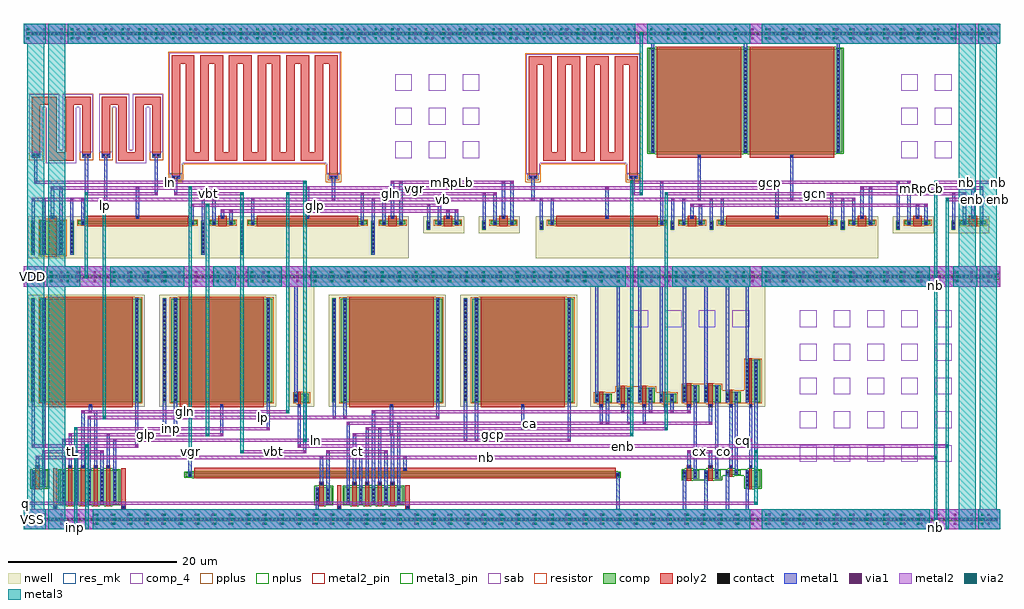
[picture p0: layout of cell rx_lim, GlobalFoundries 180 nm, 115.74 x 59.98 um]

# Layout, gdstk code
import gdstk
lib = gdstk.Library(unit=1e-6, precision=1e-09)
def R(c, l, rs):  # rectangles x0, y0, x1, y1
    for r in rs: c.add(gdstk.rectangle(r[:2], r[2:], *l))
def A(c, l, x, y, w, h, nx, ny, dx, dy):  # array of equal rectangles
    R(c, l, [(x+i*dx, y+j*dy, x+i*dx+w, y+j*dy+h) for i in range(nx) for j in range(ny)])
nwell = (21, 0)
comp = (22, 0)
comp_4 = (22, 4)
poly2 = (30, 0)
pplus = (31, 0)
nplus = (32, 0)
contact = (33, 0)
metal1 = (34, 0)
via1 = (35, 0)
metal2 = (36, 0)
metal2_pin = (36, 10)
via2 = (38, 0)
metal3 = (42, 0)
metal3_pin = (42, 10)
sab = (49, 0)
resistor = (62, 0)
res_mk = (110, 5)

rx_lim = lib.new_cell('rx_lim')
R(rx_lim, nwell, [(0.45,12.165,14.33,25.43), (16.03,12.165,29.91,25.43), (31.46,12.165,34.39,26.88), (36.14,12.165,50.02,25.43), (51.72,12.165,65.6,25.43), (67.15,12.165,87.91,26.88), (0.15,26.88,115.59,28.28), (0.45,29.73,45.65,34.71), (60.71,29.73,101.33,34.71), (47.35,32.73,52.23,34.71), (53.93,32.73,58.81,34.71), (103.03,32.73,107.91,34.71), (109.61,32.73,114.49,34.71)])
A(rx_lim, comp, 96.9, 33.18, 0.38, 1, 3, 1, 6.58, 0)
A(rx_lim, comp, 42.2, 33.76, 3, 0.42, 3, 1, 6.58, 0)
A(rx_lim, comp, 97.88, 33.76, 3, 0.42, 3, 1, 6.58, 0)
R(rx_lim, comp, [(0.3,-1.39,115.44,-1.01), (4.25,0.6,11.25,4.6), (34.59,0.6,36.54,2.6), (37.94,0.6,44.94,2.6), (0.9,2.6,2.85,4.6), (85.58,2.6,87.31,4.6), (78.15,3.6,80.1,4.6), (80.7,3.6,82.65,4.6), (19.175,3.87,70.625,4.29), (83.25,4.1,84.98,4.6), (0.9,12.695,1.28,24.98), (1.88,12.695,13.88,24.98), (16.48,12.695,16.86,24.98), (17.46,12.695,29.46,24.98), (32.06,12.695,33.79,13.695), (36.59,12.695,36.97,24.98), (37.57,12.695,49.57,24.98), (52.17,12.695,52.55,24.98), (53.15,12.695,65.15,24.98), (67.75,12.695,69.7,13.695), (70.3,12.695,72.25,14.395), (72.85,12.695,74.8,14.395), (75.4,12.695,77.35,13.695), (78.15,12.695,80.1,14.695), (80.7,12.695,82.65,14.695), (83.25,12.695,84.98,13.945), (85.58,12.695,87.31,17.695), (0.3,27.39,115.44,27.77), (0.9,30.18,1.28,34.18), (1.88,30.18,4.88,34.18), (5.48,30.18,5.86,34.18), (21.06,30.18,21.44,34.18), (25.64,30.18,26.02,34.18), (41.22,30.18,41.6,34.18), (47.8,33.18,48.18,34.18), (54.38,33.18,54.76,34.18), (61.16,33.18,61.54,34.18), (76.74,33.18,77.12,34.18), (81.32,33.18,81.7,34.18), (6.46,33.76,20.46,34.18), (22.04,33.76,25.04,34.18), (26.62,33.76,40.62,34.18), (62.14,33.76,76.14,34.18), (77.72,33.76,80.72,34.18), (82.3,33.76,96.3,34.18), (74.06,42.295,97.06,54.58), (0.3,56.19,115.44,56.57)])
A(rx_lim, comp_4, 92, 5.6, 2, 2, 5, 5, 4, 4)
A(rx_lim, comp_4, 72, 21.6, 2, 2, 4, 1, 4, 0)
A(rx_lim, comp_4, 44, 41.6, 2, 2, 3, 3, 4, 4)
A(rx_lim, comp_4, 104, 41.6, 2, 2, 1, 3, 0, 4)
A(rx_lim, comp_4, 108, 41.6, 2, 2, 1, 3, 0, 4)
A(rx_lim, poly2, 5.25, 0.37, 0.5, 4.86, 4, 1, 1.5, 0)
A(rx_lim, poly2, 38.94, 0.37, 0.5, 2.86, 4, 1, 1.5, 0)
A(rx_lim, poly2, 43.2, 33.53, 1, 1.28, 3, 1, 6.58, 0)
A(rx_lim, poly2, 98.88, 33.53, 1, 1.28, 3, 1, 6.58, 0)
A(rx_lim, poly2, 19.2, 41.295, 2.7, 1, 5, 1, 3.4, 0)
A(rx_lim, poly2, 61.56, 41.295, 2.7, 1, 3, 1, 3.4, 0)
A(rx_lim, poly2, 19.2, 42.295, 1, 10.525, 10, 1, 1.7, 0)
A(rx_lim, poly2, 61.56, 42.295, 1, 10.39, 6, 1, 1.7, 0)
A(rx_lim, poly2, 59.86, 52.685, 2.7, 1, 4, 1, 3.4, 0)
A(rx_lim, poly2, 17.5, 52.82, 2.7, 1, 6, 1, 3.4, 0)
R(rx_lim, poly2, [(3.45,0.03,3.95,4.83), (11.55,0.03,12.05,4.83), (37.14,0.03,37.64,2.83), (45.24,0.03,45.74,2.83), (35.04,0.37,35.54,3.23), (1.35,2.37,1.85,5.23), (86.03,2.37,86.31,4.86), (78.6,3.37,79.1,5.23), (81.15,3.37,81.65,5.23), (20.175,3.64,70.175,4.92), (83.7,3.87,83.98,4.86), (83.655,4.86,84.025,5.23), (85.985,4.86,86.355,5.23), (2.88,12.065,12.88,25.21), (18.46,12.065,28.46,25.21), (32.465,12.065,32.835,12.435), (38.57,12.065,48.57,25.21), (54.15,12.065,64.15,25.21), (68.2,12.065,68.7,13.925), (70.75,12.065,71.25,14.625), (73.3,12.065,73.8,14.625), (75.85,12.065,76.35,13.925), (78.6,12.065,79.1,14.925), (81.15,12.065,81.65,14.925), (83.655,12.065,84.025,12.435), (85.985,12.065,86.355,12.435), (32.51,12.435,32.79,13.925), (83.7,12.435,83.98,14.175), (86.03,12.435,86.31,17.925), (2.88,29.95,3.88,34.81), (7.46,33.53,19.46,34.81), (23.04,33.53,24.04,34.81), (27.62,33.53,39.62,34.81), (63.14,33.53,75.14,34.81), (78.72,33.53,79.72,34.81), (83.3,33.53,95.3,34.81), (17.5,39.185,18.5,52.82), (36.2,39.185,37.2,52.82), (59.86,39.185,60.86,52.685), (71.76,39.185,72.76,52.685), (2.9,41.295,5.9,42.295), (11.2,41.295,14.2,42.295), (75.06,41.665,85.06,54.81), (86.06,41.665,96.06,54.81), (0.9,41.685,1.9,47.935), (6.9,41.685,7.9,47.935), (9.2,41.685,10.2,47.935), (15.2,41.685,16.2,47.935), (2.9,42.295,3.9,47.935), (4.9,42.295,5.9,47.935), (11.2,42.295,12.2,47.935), (13.2,42.295,14.2,47.935), (0.9,47.935,3.9,48.935), (4.9,47.935,7.9,48.935), (9.2,47.935,12.2,48.935), (13.2,47.935,16.2,48.935)])
A(rx_lim, pplus, 67.97, 12.465, 0.96, 0.07, 4, 1, 2.55, 0)
A(rx_lim, pplus, 42.97, 33.53, 1.46, 0.07, 3, 1, 6.58, 0)
A(rx_lim, pplus, 98.65, 33.53, 1.46, 0.07, 3, 2, 6.58, 0.81)
A(rx_lim, pplus, 42.04, 33.6, 3.32, 0.74, 3, 1, 6.58, 0)
A(rx_lim, pplus, 97.72, 33.6, 3.32, 0.74, 3, 1, 6.58, 0)
A(rx_lim, pplus, 2.65, 34.34, 1.46, 0.07, 3, 1, 20.16, 0)
R(rx_lim, pplus, [(0.28,-1.41,115.46,-0.99), (2.65,12.465,13.11,12.535), (18.23,12.465,28.69,12.535), (32.28,12.465,33.02,12.535), (38.34,12.465,48.8,12.535), (53.92,12.465,64.38,12.535), (78.37,12.465,79.33,12.535), (80.92,12.465,81.88,12.535), (83.47,12.465,84.21,12.535), (85.8,12.465,86.54,12.535), (1.72,12.535,14.04,25.14), (17.3,12.535,29.62,25.14), (31.9,12.535,33.95,13.855), (37.41,12.535,49.73,25.14), (52.99,12.535,65.31,25.14), (67.59,12.535,77.51,13.855), (77.99,12.535,87.47,14.105), (32.28,13.855,33.02,13.925), (67.97,13.855,68.93,13.925), (70.14,13.855,74.96,14.555), (75.62,13.855,76.58,13.925), (77.99,14.105,82.81,14.855), (83.47,14.105,84.21,14.175), (85.42,14.105,87.47,17.855), (70.52,14.555,71.48,14.625), (73.07,14.555,74.03,14.625), (78.37,14.855,79.33,14.925), (80.92,14.855,81.88,14.925), (85.8,17.855,86.54,17.925), (2.65,25.14,13.11,25.21), (18.23,25.14,28.69,25.21), (38.34,25.14,48.8,25.21), (53.92,25.14,64.38,25.21), (2.65,29.95,4.11,30.02), (1.72,30.02,5.04,34.34), (7.23,33.53,19.69,33.6), (22.81,33.53,24.27,33.6), (27.39,33.53,39.85,33.6), (62.91,33.53,75.37,33.6), (78.49,33.53,79.95,33.6), (83.07,33.53,95.53,33.6), (6.3,33.6,20.62,34.34), (21.88,33.6,25.2,34.34), (26.46,33.6,40.78,34.34), (61.98,33.6,76.3,34.34), (77.56,33.6,80.88,34.34), (82.14,33.6,96.46,34.34), (7.23,34.34,19.69,34.41), (27.39,34.34,39.85,34.41), (49.55,34.34,51.01,34.41), (56.13,34.34,57.59,34.41), (62.91,34.34,75.37,34.41), (78.49,34.34,79.95,34.41), (83.07,34.34,95.53,34.41), (17.3,38.985,18.7,39.795), (36,38.985,37.4,39.795), (59.66,38.985,61.06,39.795), (71.56,38.985,72.96,39.795), (2.6,40.995,6.2,42.595), (10.9,40.995,14.5,42.595), (0.6,41.385,2.2,47.635), (6.6,41.385,8.2,47.635), (8.9,41.385,10.5,47.635), (14.9,41.385,16.5,47.635), (2.6,42.595,4.2,47.635), (4.6,42.595,6.2,47.635), (10.9,42.595,12.5,47.635), (12.9,42.595,14.5,47.635), (0.6,47.635,4.2,49.235), (4.6,47.635,8.2,49.235), (8.9,47.635,12.5,49.235), (12.9,47.635,16.5,49.235), (0.28,56.17,115.46,56.59)])
A(rx_lim, nplus, 5.02, 0.37, 0.96, 0.07, 4, 2, 1.5, 4.39)
A(rx_lim, nplus, 38.71, 0.37, 0.96, 0.07, 4, 2, 1.5, 2.39)
A(rx_lim, nplus, 96.88, 33.16, 0.42, 1.04, 3, 1, 6.58, 0)
R(rx_lim, nplus, [(34.81,0.37,35.77,0.44), (4.09,0.44,11.41,4.76), (34.43,0.44,36.7,2.76), (37.78,0.44,45.1,2.76), (1.12,2.37,2.08,2.44), (85.8,2.37,86.54,2.44), (0.74,2.44,3.01,4.76), (85.42,2.44,87.47,3.94), (34.81,2.76,35.77,2.83), (78.37,3.37,79.33,3.44), (80.92,3.37,81.88,3.44), (77.99,3.44,82.81,3.94), (19.945,3.64,70.405,3.71), (19.015,3.71,70.785,4.45), (83.47,3.87,84.21,3.94), (77.99,3.94,87.47,4.76), (19.945,4.45,70.405,4.52), (1.12,4.76,2.08,4.83), (78.37,4.76,79.33,4.83), (80.92,4.76,81.88,4.83), (83.47,4.76,84.21,4.83), (85.8,4.76,86.54,4.83), (0.88,12.675,1.3,25), (16.46,12.675,16.88,25), (36.57,12.675,36.99,25), (52.15,12.675,52.57,25), (0.14,27.23,0.74,27.37), (115,27.23,115.6,27.37), (0.14,27.37,115.6,27.79), (0.14,27.79,0.74,27.93), (115,27.79,115.6,27.93), (0.88,30.16,1.3,34.2), (5.46,30.16,5.88,34.2), (21.04,30.16,21.46,34.2), (25.62,30.16,26.04,34.2), (41.2,30.16,41.62,34.2), (47.78,33.16,48.2,34.2), (54.36,33.16,54.78,34.2), (61.14,33.16,61.56,34.2), (76.72,33.16,77.14,34.2), (81.3,33.16,81.72,34.2), (74.83,42.065,85.29,42.135), (85.83,42.065,96.29,42.135), (73.9,42.135,97.22,54.74), (74.83,54.74,85.29,54.81), (85.83,54.74,96.29,54.81)])
A(rx_lim, contact, 0.42, -1.31, 0.22, 0.22, 245, 2, 0.47, 28.78)
A(rx_lim, contact, 34.665, 0.785, 0.22, 0.22, 1, 4, 0, 0.47)
A(rx_lim, contact, 35.93, 0.785, 0.22, 0.22, 1, 4, 0, 0.47)
A(rx_lim, contact, 38.33, 0.785, 0.22, 0.22, 5, 4, 1.5, 0.47)
A(rx_lim, contact, 4.64, 0.845, 0.22, 0.22, 5, 8, 1.5, 0.47)
A(rx_lim, contact, 0.975, 2.785, 0.22, 0.22, 1, 4, 0, 0.47)
A(rx_lim, contact, 2.24, 2.785, 0.22, 0.22, 1, 4, 0, 0.47)
A(rx_lim, contact, 85.655, 2.785, 0.22, 0.22, 1, 4, 0, 0.47)
A(rx_lim, contact, 86.7, 2.785, 0.22, 0.22, 1, 4, 0, 0.47)
A(rx_lim, contact, 39.08, 2.935, 0.22, 0.22, 4, 1, 1.5, 0)
A(rx_lim, contact, 5.39, 4.935, 0.22, 0.22, 4, 1, 1.5, 0)
A(rx_lim, contact, 68.34, 12.14, 0.22, 0.22, 4, 1, 2.55, 0)
A(rx_lim, contact, 0.98, 12.85, 0.22, 0.22, 1, 26, 0, 0.47)
A(rx_lim, contact, 2.27, 12.85, 0.22, 0.22, 1, 26, 0, 0.47)
A(rx_lim, contact, 13.27, 12.85, 0.22, 0.22, 1, 26, 0, 0.47)
A(rx_lim, contact, 16.56, 12.85, 0.22, 0.22, 1, 26, 0, 0.47)
A(rx_lim, contact, 17.85, 12.85, 0.22, 0.22, 1, 26, 0, 0.47)
A(rx_lim, contact, 28.85, 12.85, 0.22, 0.22, 1, 26, 0, 0.47)
A(rx_lim, contact, 36.67, 12.85, 0.22, 0.22, 1, 26, 0, 0.47)
A(rx_lim, contact, 37.96, 12.85, 0.22, 0.22, 1, 26, 0, 0.47)
A(rx_lim, contact, 48.96, 12.85, 0.22, 0.22, 1, 26, 0, 0.47)
A(rx_lim, contact, 52.25, 12.85, 0.22, 0.22, 1, 26, 0, 0.47)
A(rx_lim, contact, 53.54, 12.85, 0.22, 0.22, 1, 26, 0, 0.47)
A(rx_lim, contact, 64.54, 12.85, 0.22, 0.22, 1, 26, 0, 0.47)
A(rx_lim, contact, 78.225, 12.88, 0.22, 0.22, 1, 4, 0, 0.47)
A(rx_lim, contact, 79.49, 12.88, 0.22, 0.22, 1, 4, 0, 0.47)
A(rx_lim, contact, 80.775, 12.88, 0.22, 0.22, 1, 4, 0, 0.47)
A(rx_lim, contact, 82.04, 12.88, 0.22, 0.22, 1, 4, 0, 0.47)
A(rx_lim, contact, 70.375, 12.965, 0.22, 0.22, 1, 3, 0, 0.47)
A(rx_lim, contact, 71.64, 12.965, 0.22, 0.22, 1, 3, 0, 0.47)
A(rx_lim, contact, 72.925, 12.965, 0.22, 0.22, 1, 3, 0, 0.47)
A(rx_lim, contact, 74.19, 12.965, 0.22, 0.22, 1, 3, 0, 0.47)
A(rx_lim, contact, 85.655, 12.97, 0.22, 0.22, 1, 10, 0, 0.47)
A(rx_lim, contact, 86.7, 12.97, 0.22, 0.22, 1, 10, 0, 0.47)
A(rx_lim, contact, 0.98, 30.425, 0.22, 0.22, 1, 8, 0, 0.47)
A(rx_lim, contact, 2.27, 30.425, 0.22, 0.22, 1, 8, 0, 0.47)
A(rx_lim, contact, 4.27, 30.425, 0.22, 0.22, 1, 8, 0, 0.47)
A(rx_lim, contact, 5.56, 30.425, 0.22, 0.22, 1, 8, 0, 0.47)
A(rx_lim, contact, 21.14, 30.425, 0.22, 0.22, 1, 8, 0, 0.47)
A(rx_lim, contact, 25.72, 30.425, 0.22, 0.22, 1, 8, 0, 0.47)
A(rx_lim, contact, 41.3, 30.425, 0.22, 0.22, 1, 8, 0, 0.47)
A(rx_lim, contact, 96.98, 33.335, 0.22, 0.22, 3, 2, 6.58, 0.47)
A(rx_lim, contact, 3.27, 34.515, 0.22, 0.22, 5, 1, 10.08, 0)
A(rx_lim, contact, 69.03, 34.515, 0.22, 0.22, 4, 1, 10.08, 0)
A(rx_lim, contact, 74.45, 42.45, 0.22, 0.22, 3, 26, 11, 0.47)
A(rx_lim, contact, 0.42, 56.27, 0.22, 0.22, 245, 1, 0.47, 0)
R(rx_lim, contact, [(3.59,0.105,3.81,0.325), (11.69,0.105,11.91,0.325), (37.28,0.105,37.5,0.325), (45.38,0.105,45.6,0.325), (35.18,2.935,35.4,3.155), (78.225,3.755,78.445,3.975), (79.49,3.755,79.71,3.975), (80.775,3.755,80.995,3.975), (82.04,3.755,82.26,3.975), (19.565,3.97,19.785,4.19), (70.33,3.97,70.55,4.19), (78.225,4.225,78.445,4.445), (79.49,4.225,79.71,4.445), (80.775,4.225,80.995,4.445), (82.04,4.225,82.26,4.445), (83.325,4.24,83.545,4.46), (84.37,4.24,84.59,4.46), (45.065,4.625,45.285,4.845), (1.49,4.935,1.71,5.155), (78.74,4.935,78.96,5.155), (81.29,4.935,81.51,5.155), (83.73,4.935,83.95,5.155), (86.06,4.935,86.28,5.155), (7.77,12.14,7.99,12.36), (23.35,12.14,23.57,12.36), (32.54,12.14,32.76,12.36), (43.46,12.14,43.68,12.36), (59.04,12.14,59.26,12.36), (78.74,12.14,78.96,12.36), (81.29,12.14,81.51,12.36), (83.73,12.14,83.95,12.36), (86.06,12.14,86.28,12.36), (32.135,12.85,32.355,13.07), (33.18,12.85,33.4,13.07), (67.825,12.85,68.045,13.07), (69.09,12.85,69.31,13.07), (75.475,12.85,75.695,13.07), (76.74,12.85,76.96,13.07), (83.325,12.975,83.545,13.195), (84.37,12.975,84.59,13.195), (32.135,13.32,32.355,13.54), (33.18,13.32,33.4,13.54), (67.825,13.32,68.045,13.54), (69.09,13.32,69.31,13.54), (75.475,13.32,75.695,13.54), (76.74,13.32,76.96,13.54), (83.325,13.445,83.545,13.665), (84.37,13.445,84.59,13.665), (47.88,33.335,48.1,33.555), (54.46,33.335,54.68,33.555), (61.24,33.335,61.46,33.555), (76.82,33.335,77.04,33.555), (81.4,33.335,81.62,33.555), (47.88,33.805,48.1,34.025), (54.46,33.805,54.68,34.025), (61.24,33.805,61.46,34.025), (76.82,33.805,77.04,34.025), (81.4,33.805,81.62,34.025), (6.85,33.86,7.07,34.08), (19.85,33.86,20.07,34.08), (22.43,33.86,22.65,34.08), (24.43,33.86,24.65,34.08), (27.01,33.86,27.23,34.08), (40.01,33.86,40.23,34.08), (42.59,33.86,42.81,34.08), (44.59,33.86,44.81,34.08), (49.17,33.86,49.39,34.08), (51.17,33.86,51.39,34.08), (55.75,33.86,55.97,34.08), (57.75,33.86,57.97,34.08), (62.53,33.86,62.75,34.08), (75.53,33.86,75.75,34.08), (78.11,33.86,78.33,34.08), (80.11,33.86,80.33,34.08), (82.69,33.86,82.91,34.08), (95.69,33.86,95.91,34.08), (98.27,33.86,98.49,34.08), (100.27,33.86,100.49,34.08), (104.85,33.86,105.07,34.08), (106.85,33.86,107.07,34.08), (111.43,33.86,111.65,34.08), (113.43,33.86,113.65,34.08), (50.17,34.515,50.39,34.735), (56.75,34.515,56.97,34.735), (105.85,34.515,106.07,34.735), (112.43,34.515,112.65,34.735), (17.655,39.255,17.875,39.475), (18.125,39.255,18.345,39.475), (36.355,39.255,36.575,39.475), (36.825,39.255,37.045,39.475), (60.015,39.255,60.235,39.475), (60.485,39.255,60.705,39.475), (71.915,39.255,72.135,39.475), (72.385,39.255,72.605,39.475), (79.95,41.74,80.17,41.96), (90.95,41.74,91.17,41.96), (1.055,41.855,1.275,42.075), (1.525,41.855,1.745,42.075), (7.055,41.855,7.275,42.075), (7.525,41.855,7.745,42.075), (9.355,41.855,9.575,42.075), (9.825,41.855,10.045,42.075), (15.355,41.855,15.575,42.075), (15.825,41.855,16.045,42.075)])
A(rx_lim, metal1, 78.145, 0, 0.38, 4.605, 3, 1, 2.55, 0)
A(rx_lim, metal1, 67.745, 12.69, 0.38, 13.69, 4, 1, 2.55, 0)
A(rx_lim, metal1, 78.145, 12.69, 0.38, 13.69, 3, 1, 2.55, 0)
A(rx_lim, metal1, 74.37, 42.29, 0.38, 12.89, 3, 1, 11, 0)
R(rx_lim, metal1, [(0,-2.4,115.74,0), (0.895,0,1.275,4.605), (3.51,0,3.89,0.4), (11.61,0,11.99,0.4), (34.585,0,34.965,2.605), (37.2,0,37.58,0.4), (45.3,0,45.68,0.4), (70.25,0,70.63,4.295), (85.575,0,85.955,4.605), (4.56,0.595,4.94,8.35), (6.06,0.595,6.44,6.99), (7.56,0.595,7.94,11.07), (9.06,0.595,9.44,6.99), (10.56,0.595,10.94,8.35), (35.85,0.595,36.23,6.99), (38.25,0.595,38.63,10.39), (39.75,0.595,40.13,6.99), (41.25,0.595,41.63,11.75), (42.75,0.595,43.13,6.99), (44.25,0.595,44.63,10.39), (2.16,2.595,2.54,6.99), (86.62,2.595,87,17.7), (35.1,2.855,35.48,6.31), (39,2.855,39.38,9.03), (40.5,2.855,40.88,9.71), (42,2.855,42.38,9.71), (43.5,2.855,43.88,8.65), (79.41,3.595,79.79,14.7), (81.96,3.595,82.34,14.7), (19.485,3.865,19.865,6.99), (84.29,4.095,84.67,13.95), (44.985,4.545,45.365,6.31), (1.41,4.855,1.79,6.31), (5.31,4.855,5.69,9.03), (6.81,4.855,7.19,11.75), (8.31,4.855,8.69,11.37), (9.81,4.855,10.19,9.03), (78.66,4.855,79.04,6.99), (81.21,4.855,81.59,6.99), (83.65,4.855,84.03,12.44), (85.98,4.855,86.36,12.44), (33.1,6.61,33.48,13.7), (0.9,7.29,1.28,24.98), (2.19,7.29,2.57,24.985), (13.19,7.29,13.57,24.985), (32.46,7.29,32.84,12.44), (52.17,7.97,52.55,24.98), (53.46,7.97,53.84,24.985), (64.46,7.97,64.84,24.985), (23.27,8.65,23.65,12.44), (43.38,8.65,43.88,9.03), (43.38,9.03,43.76,12.44), (16.48,9.33,16.86,24.98), (17.77,9.33,18.15,24.985), (28.77,9.33,29.15,24.985), (58.96,9.33,59.34,12.44), (68.26,10.01,68.64,12.44), (69.01,10.01,69.39,13.7), (71.56,10.01,71.94,14.4), (73.36,10.01,73.74,12.44), (81.21,10.01,81.59,12.44), (36.59,10.69,36.97,24.98), (37.88,10.69,38.26,24.985), (48.88,10.69,49.26,24.985), (7.69,11.37,8.69,11.75), (70.81,11.37,71.19,12.44), (74.11,11.37,74.49,14.4), (75.91,11.37,76.29,12.44), (76.66,11.37,77.04,13.7), (78.66,11.37,79.04,12.44), (7.69,11.75,8.07,12.44), (32.055,12.69,32.435,26.38), (85.575,12.69,85.955,26.38), (0,26.38,115.74,28.78), (2.19,30.175,2.57,36.91), (4.19,30.175,4.57,38.27), (0.9,30.18,1.28,36.91), (5.48,30.18,5.86,36.91), (21.06,30.18,21.44,36.91), (25.64,30.18,26.02,36.91), (41.22,30.18,41.6,36.91), (47.8,33.18,48.18,36.23), (54.38,33.18,54.76,37.59), (61.16,33.18,61.54,36.91), (76.74,33.18,77.12,36.91), (81.32,33.18,81.7,36.91), (96.9,33.18,97.28,36.91), (103.48,33.18,103.86,38.95), (110.06,33.18,110.44,37.59), (6.77,33.755,7.15,36.91), (19.77,33.755,20.15,36.23), (22.35,33.755,22.73,36.91), (24.35,33.755,24.73,35.55), (26.93,33.755,27.31,36.91), (39.93,33.755,40.31,37.59), (42.51,33.755,42.89,36.91), (44.51,33.755,44.89,38.95), (49.09,33.755,49.47,36.23), (51.09,33.755,51.47,35.55), (55.67,33.755,56.05,37.59), (57.67,33.755,58.05,38.95), (62.45,33.755,62.83,36.91), (75.45,33.755,75.83,38.95), (78.03,33.755,78.41,36.91), (80.03,33.755,80.41,36.23), (82.61,33.755,82.99,36.91), (95.61,33.755,95.99,37.59), (98.19,33.755,98.57,36.91), (100.19,33.755,100.57,38.27), (104.77,33.755,105.15,38.95), (106.77,33.755,107.15,36.23), (111.35,33.755,111.73,37.59), (113.35,33.755,113.73,38.27), (3.19,34.435,3.57,38.27), (13.27,34.435,13.65,38.27), (23.35,34.435,23.73,35.55), (33.43,34.435,33.81,38.27), (43.51,34.435,43.89,38.95), (50.09,34.435,50.47,35.55), (56.67,34.435,57.05,38.95), (68.95,34.435,69.33,38.27), (79.03,34.435,79.41,36.23), (89.11,34.435,89.49,38.27), (99.19,34.435,99.57,38.27), (105.77,34.435,106.15,36.23), (112.35,34.435,112.73,38.27), (9.51,35.85,9.89,41.685), (36.51,36.53,36.89,39.185), (60.17,36.53,60.55,39.185), (79.87,36.53,80.25,42.04), (90.87,36.53,91.25,42.04), (7.21,37.21,7.59,41.685), (15.51,37.21,15.89,41.685), (17.81,37.21,18.19,39.185), (72.07,37.21,72.45,39.185), (1.21,38.57,1.59,41.685), (17.5,39.185,18.5,39.545), (36.2,39.185,37.2,39.545), (59.86,39.185,60.86,39.545), (71.76,39.185,72.76,39.545), (0.9,41.685,1.9,42.145), (6.9,41.685,7.9,42.145), (9.2,41.685,10.2,42.145), (15.2,41.685,16.2,42.145), (0,55.18,115.74,57.58)])
A(rx_lim, via1, 0.27, -1.85, 0.26, 0.26, 58, 3, 2, 0.52)
A(rx_lim, via1, 0.27, 26.93, 0.26, 0.26, 58, 3, 2, 0.52)
A(rx_lim, via1, 0.27, 55.73, 0.26, 0.26, 58, 3, 2, 0.52)
R(rx_lim, via1, [(1.47,5.99,1.73,6.25), (35.16,5.99,35.42,6.25), (45.045,5.99,45.305,6.25), (2.22,6.67,2.48,6.93), (6.12,6.67,6.38,6.93), (9.12,6.67,9.38,6.93), (19.545,6.67,19.805,6.93), (33.16,6.67,33.42,6.93), (35.91,6.67,36.17,6.93), (39.81,6.67,40.07,6.93), (42.81,6.67,43.07,6.93), (78.72,6.67,78.98,6.93), (79.47,6.67,79.73,6.93), (81.27,6.67,81.53,6.93), (82.02,6.67,82.28,6.93), (83.71,6.67,83.97,6.93), (86.68,6.67,86.94,6.93), (0.96,7.35,1.22,7.61), (2.25,7.35,2.51,7.61), (13.25,7.35,13.51,7.61), (32.52,7.35,32.78,7.61), (4.62,8.03,4.88,8.29), (10.62,8.03,10.88,8.29), (52.23,8.03,52.49,8.29), (53.52,8.03,53.78,8.29), (64.52,8.03,64.78,8.29), (84.35,8.03,84.61,8.29), (86.04,8.03,86.3,8.29), (5.37,8.71,5.63,8.97), (9.87,8.71,10.13,8.97), (23.33,8.71,23.59,8.97), (39.06,8.71,39.32,8.97), (43.44,8.71,43.7,8.97), (16.54,9.39,16.8,9.65), (17.83,9.39,18.09,9.65), (28.83,9.39,29.09,9.65), (40.56,9.39,40.82,9.65), (42.06,9.39,42.32,9.65), (59.02,9.39,59.28,9.65), (38.31,10.07,38.57,10.33), (44.31,10.07,44.57,10.33), (68.32,10.07,68.58,10.33), (69.07,10.07,69.33,10.33), (71.62,10.07,71.88,10.33), (73.42,10.07,73.68,10.33), (81.27,10.07,81.53,10.33), (7.62,10.75,7.88,11.01), (36.65,10.75,36.91,11.01), (37.94,10.75,38.2,11.01), (48.94,10.75,49.2,11.01), (6.87,11.43,7.13,11.69), (7.75,11.43,8.01,11.69), (41.31,11.43,41.57,11.69), (70.87,11.43,71.13,11.69), (74.17,11.43,74.43,11.69), (75.97,11.43,76.23,11.69), (76.72,11.43,76.98,11.69), (78.72,11.43,78.98,11.69), (23.41,35.23,23.67,35.49), (24.41,35.23,24.67,35.49), (50.15,35.23,50.41,35.49), (51.15,35.23,51.41,35.49), (9.57,35.91,9.83,36.17), (19.83,35.91,20.09,36.17), (47.86,35.91,48.12,36.17), (49.15,35.91,49.41,36.17), (79.09,35.91,79.35,36.17), (80.09,35.91,80.35,36.17), (105.83,35.91,106.09,36.17), (106.83,35.91,107.09,36.17), (0.96,36.59,1.22,36.85), (2.25,36.59,2.51,36.85), (5.54,36.59,5.8,36.85), (6.83,36.59,7.09,36.85), (21.12,36.59,21.38,36.85), (22.41,36.59,22.67,36.85), (25.7,36.59,25.96,36.85), (26.99,36.59,27.25,36.85), (36.57,36.59,36.83,36.85), (41.28,36.59,41.54,36.85), (42.57,36.59,42.83,36.85), (60.23,36.59,60.49,36.85), (61.22,36.59,61.48,36.85), (62.51,36.59,62.77,36.85), (76.8,36.59,77.06,36.85), (78.09,36.59,78.35,36.85), (79.93,36.59,80.19,36.85), (81.38,36.59,81.64,36.85), (82.67,36.59,82.93,36.85), (90.93,36.59,91.19,36.85), (96.96,36.59,97.22,36.85), (98.25,36.59,98.51,36.85), (7.27,37.27,7.53,37.53), (15.57,37.27,15.83,37.53), (17.87,37.27,18.13,37.53), (39.99,37.27,40.25,37.53), (54.44,37.27,54.7,37.53), (55.73,37.27,55.99,37.53), (72.13,37.27,72.39,37.53), (95.67,37.27,95.93,37.53), (110.12,37.27,110.38,37.53), (111.41,37.27,111.67,37.53), (3.25,37.95,3.51,38.21), (4.25,37.95,4.51,38.21), (13.33,37.95,13.59,38.21), (33.49,37.95,33.75,38.21), (69.01,37.95,69.27,38.21), (89.17,37.95,89.43,38.21), (99.25,37.95,99.51,38.21), (100.25,37.95,100.51,38.21), (112.41,37.95,112.67,38.21), (113.41,37.95,113.67,38.21), (1.27,38.63,1.53,38.89), (43.57,38.63,43.83,38.89), (44.57,38.63,44.83,38.89), (56.73,38.63,56.99,38.89), (57.73,38.63,57.99,38.89), (75.51,38.63,75.77,38.89), (103.54,38.63,103.8,38.89), (104.83,38.63,105.09,38.89)])
R(rx_lim, metal2, [(0,-2.4,115.74,0), (0,0.51,87,0.89), (1.41,5.93,108.31,6.31), (2.16,6.61,9.44,6.99), (19.485,6.61,19.91,6.99), (25.65,6.61,33.48,6.99), (35.85,6.61,43.13,6.99), (78.66,6.61,81.59,6.99), (81.96,6.61,84.03,6.99), (86.62,6.61,87,6.99), (0.9,7.29,13.57,7.67), (32.46,7.29,109.67,7.67), (4.56,7.97,64.84,8.35), (84.29,7.97,86.36,8.35), (5.31,8.65,23.65,9.03), (39,8.65,72.27,9.03), (5.93,9.33,29.15,9.71), (40.5,9.33,76.35,9.71), (38.25,10.01,81.59,10.39), (7.56,10.69,49.26,11.07), (6.81,11.37,31.47,11.75), (41.25,11.37,79.04,11.75), (0,26.38,115.74,28.78), (23.35,35.17,51.47,35.55), (9.33,35.85,9.89,36.23), (19.77,35.85,49.47,36.23), (79.03,35.85,107.15,36.23), (0.9,36.53,98.57,36.91), (109.29,36.53,115.74,36.91), (7.205,37.21,15.89,37.59), (17.81,37.21,26.03,37.59), (31.09,37.21,56.05,37.59), (72.07,37.21,73.375,37.59), (75.97,37.21,111.73,37.59), (3.19,37.89,89.49,38.27), (99.19,37.89,113.73,38.27), (1.21,38.57,33.51,38.95), (43.51,38.57,58.05,38.95), (71.89,38.57,105.15,38.95), (107.93,38.57,115.74,38.95), (0,55.18,115.74,57.58)])
R(rx_lim, metal2_pin, [(0.95,-1.25,1.05,-1.15), (0.1,0.65,0.2,0.75), (0.95,27.53,1.05,27.63), (115.54,36.67,115.64,36.77), (115.54,38.71,115.64,38.81)])
A(rx_lim, via2, 0.37, -1.85, 0.26, 0.26, 1, 3, 0, 0.52)
A(rx_lim, via2, 8.55, -1.85, 0.26, 0.26, 39, 3, 2, 0.52)
A(rx_lim, via2, 87.88, -1.85, 0.26, 0.26, 10, 3, 2, 0.52)
A(rx_lim, via2, 113.51, -1.85, 0.26, 0.26, 1, 3, 0, 0.52)
A(rx_lim, via2, 3.07, 26.93, 0.26, 0.26, 1, 3, 0, 0.52)
A(rx_lim, via2, 5.07, 26.93, 0.26, 0.26, 1, 3, 0, 0.52)
A(rx_lim, via2, 10.59, 26.93, 0.26, 0.26, 4, 3, 2, 0.52)
A(rx_lim, via2, 22.83, 26.93, 0.26, 0.26, 1, 3, 0, 0.52)
A(rx_lim, via2, 26.91, 26.93, 0.26, 0.26, 1, 3, 0, 0.52)
A(rx_lim, via2, 28.91, 26.93, 0.26, 0.26, 1, 3, 0, 0.52)
A(rx_lim, via2, 34.39, 26.93, 0.26, 0.26, 19, 3, 2, 0.52)
A(rx_lim, via2, 73.15, 26.93, 0.26, 0.26, 1, 3, 0, 0.52)
A(rx_lim, via2, 77.23, 26.93, 0.26, 0.26, 5, 3, 2, 0.52)
A(rx_lim, via2, 87.88, 26.93, 0.26, 0.26, 10, 3, 2, 0.52)
A(rx_lim, via2, 110.55, 26.93, 0.26, 0.26, 1, 3, 0, 0.52)
A(rx_lim, via2, 0.37, 55.73, 0.26, 0.26, 1, 3, 0, 0.52)
A(rx_lim, via2, 5.57, 55.73, 0.26, 0.26, 34, 3, 2, 0.52)
A(rx_lim, via2, 74.255, 55.73, 0.26, 0.26, 6, 3, 2, 0.52)
A(rx_lim, via2, 87.88, 55.73, 0.26, 0.26, 12, 3, 2, 0.52)
A(rx_lim, via2, 113.51, 55.73, 0.26, 0.26, 1, 3, 0, 0.52)
R(rx_lim, via2, [(86.68,0.57,86.94,0.83), (107.99,5.99,108.25,6.25), (19.59,6.67,19.85,6.93), (25.71,6.67,25.97,6.93), (86.68,6.67,86.94,6.93), (7.35,7.35,7.61,7.61), (109.35,7.35,109.61,7.61), (33.19,8.03,33.45,8.29), (21.63,8.71,21.89,8.97), (71.95,8.71,72.21,8.97), (5.99,9.39,6.25,9.65), (76.03,9.39,76.29,9.65), (9.39,10.75,9.65,11.01), (31.15,11.43,31.41,11.69), (7.265,27.45,7.525,27.71), (9.39,35.91,9.65,36.17), (21.63,35.91,21.89,36.17), (109.35,36.59,109.61,36.85), (7.265,37.27,7.525,37.53), (25.71,37.27,25.97,37.53), (31.15,37.27,31.41,37.53), (73.055,37.27,73.315,37.53), (76.03,37.27,76.29,37.53), (19.59,37.95,19.85,38.21), (33.19,38.63,33.45,38.89), (71.95,38.63,72.21,38.89), (107.99,38.63,108.25,38.89), (73.055,56.25,73.315,56.51)])
R(rx_lim, metal3, [(0,-2.4,2.6,0), (2.9,-2.4,4.9,26.38), (5.93,-2.4,6.31,9.71), (7.29,-2.4,7.67,7.67), (8.18,-2.4,86.11,0), (87.51,-2.4,107.42,0), (107.93,-2.4,108.31,38.95), (109.29,-2.4,109.67,36.91), (110.84,-2.4,112.84,26.38), (113.14,-2.4,115.74,0), (0.4,0,2.4,55.18), (113.34,0,115.34,55.18), (86.62,0.51,87,6.99), (19.53,6.61,19.91,38.27), (25.65,6.61,26.03,37.59), (33.13,7.97,33.51,38.95), (21.57,8.65,21.95,36.23), (71.89,8.65,72.27,38.95), (75.97,9.33,76.35,37.59), (9.33,10.69,9.71,36.23), (31.09,11.37,31.47,37.59), (2.7,26.38,6.695,28.78), (10.22,26.38,19.02,28.78), (22.46,26.38,25.14,28.78), (26.54,26.38,30.58,28.78), (34.02,26.38,71.38,28.78), (72.78,26.38,75.46,28.78), (76.86,26.38,86.11,28.78), (87.51,26.38,107.42,28.78), (110.18,26.38,113.04,28.78), (7.205,27.39,7.585,37.59), (2.9,28.78,4.9,57.58), (110.84,28.78,112.84,57.58), (72.995,37.21,73.375,56.57), (0,55.18,2.6,57.58), (5.2,55.18,72.485,57.58), (73.885,55.18,86.11,57.58), (87.51,55.18,110.54,57.58), (113.14,55.18,115.74,57.58)])
R(rx_lim, metal3_pin, [(6.07,-2.25,6.17,-2.15), (7.43,-2.25,7.53,-2.15), (108.07,-2.25,108.17,-2.15), (109.43,-2.25,109.53,-2.15)])
A(rx_lim, sab, 18.92, 41.015, 3.26, 1.56, 5, 1, 3.4, 0)
A(rx_lim, sab, 61.28, 41.015, 3.26, 1.56, 3, 1, 3.4, 0)
A(rx_lim, sab, 18.92, 42.575, 1.56, 9.965, 10, 1, 1.7, 0)
A(rx_lim, sab, 61.28, 42.575, 1.56, 9.83, 6, 1, 1.7, 0)
A(rx_lim, sab, 59.58, 52.405, 3.26, 1.56, 4, 1, 3.4, 0)
A(rx_lim, sab, 17.22, 52.54, 3.26, 1.56, 6, 1, 3.4, 0)
R(rx_lim, sab, [(17.22,39.695,18.78,52.54), (35.92,39.695,37.48,52.54), (59.58,39.695,61.14,52.405), (71.48,39.695,73.04,52.405), (17.22,39.795,18.78,41.015), (35.92,39.795,37.48,41.015), (59.58,39.795,61.14,41.015), (71.48,39.795,73.04,41.015), (2.62,41.015,6.18,42.575), (10.92,41.015,14.48,42.575), (17.22,41.015,37.48,54.1), (59.58,41.015,73.04,53.965), (0.62,42.295,2.18,47.655), (6.62,42.295,8.18,47.655), (8.92,42.295,10.48,47.655), (14.92,42.295,16.48,47.655), (2.62,42.575,4.18,47.655), (4.62,42.575,6.18,47.655), (10.92,42.575,12.48,47.655), (12.92,42.575,14.48,47.655), (0.62,47.655,4.18,49.215), (4.62,47.655,8.18,49.215), (8.92,47.655,12.48,49.215), (12.92,47.655,16.48,49.215)])
R(rx_lim, resistor, [(17.1,38.785,18.9,40.895), (35.8,38.785,37.6,40.895), (59.46,38.785,61.26,40.895), (71.36,38.785,73.16,40.895), (17.1,40.895,37.6,54.22), (59.46,40.895,73.16,54.085)])
A(rx_lim, res_mk, 19.2, 41.295, 2.7, 1, 5, 1, 3.4, 0)
A(rx_lim, res_mk, 61.56, 41.295, 2.7, 1, 3, 1, 3.4, 0)
A(rx_lim, res_mk, 0.9, 42.295, 1, 5.64, 4, 1, 2, 0)
A(rx_lim, res_mk, 9.2, 42.295, 1, 5.64, 4, 1, 2, 0)
A(rx_lim, res_mk, 19.2, 42.295, 1, 10.525, 10, 1, 1.7, 0)
A(rx_lim, res_mk, 61.56, 42.295, 1, 10.39, 6, 1, 1.7, 0)
A(rx_lim, res_mk, 59.86, 52.685, 2.7, 1, 4, 1, 3.4, 0)
A(rx_lim, res_mk, 17.5, 52.82, 2.7, 1, 6, 1, 3.4, 0)
R(rx_lim, res_mk, [(17.22,39.795,18.78,41.015), (17.5,39.795,18.5,52.82), (35.92,39.795,37.48,41.015), (36.2,39.795,37.2,52.82), (59.58,39.795,61.14,41.015), (59.86,39.795,60.86,52.685), (71.48,39.795,73.04,41.015), (71.76,39.795,72.76,52.685), (17.22,41.015,37.48,54.1), (59.58,41.015,73.04,53.965), (2.9,41.295,5.9,42.295), (11.2,41.295,14.2,42.295), (0.9,47.935,3.9,48.935), (4.9,47.935,7.9,48.935), (9.2,47.935,12.2,48.935), (13.2,47.935,16.2,48.935)])
rx_lim.add(gdstk.Label('nb', (54.86,6.12), layer=36, texttype=0))
rx_lim.add(gdstk.Label('tL', (5.8,6.8), layer=36, texttype=0))
rx_lim.add(gdstk.Label('inn', (7.235,7.48), layer=36, texttype=0))
rx_lim.add(gdstk.Label('ln', (34.7,8.16), layer=36, texttype=0))
rx_lim.add(gdstk.Label('glp', (14.48,8.84), layer=36, texttype=0))
rx_lim.add(gdstk.Label('inp', (17.54,9.52), layer=36, texttype=0))
rx_lim.add(gdstk.Label('vbt', (29.565,6.8), layer=36, texttype=0))
rx_lim.add(gdstk.Label('enb', (71.065,7.48), layer=36, texttype=0))
rx_lim.add(gdstk.Label('ct', (39.49,6.8), layer=36, texttype=0))
rx_lim.add(gdstk.Label('gcp', (55.635,8.84), layer=36, texttype=0))
rx_lim.add(gdstk.Label('gcn', (58.425,9.52), layer=36, texttype=0))
rx_lim.add(gdstk.Label('cx', (80.125,6.8), layer=36, texttype=0))
rx_lim.add(gdstk.Label('ca', (59.92,10.2), layer=36, texttype=0))
rx_lim.add(gdstk.Label('lp', (28.41,10.88), layer=36, texttype=0))
rx_lim.add(gdstk.Label('gln', (19.14,11.56), layer=36, texttype=0))
rx_lim.add(gdstk.Label('cb', (60.145,11.56), layer=36, texttype=0))
rx_lim.add(gdstk.Label('co', (82.995,6.8), layer=36, texttype=0))
rx_lim.add(gdstk.Label('cq', (85.325,8.16), layer=36, texttype=0))
rx_lim.add(gdstk.Label('ln', (17.36,38.76), layer=36, texttype=0))
rx_lim.add(gdstk.Label('vgr', (46.34,38.08), layer=36, texttype=0))
rx_lim.add(gdstk.Label('vb', (49.735,36.72), layer=36, texttype=0))
rx_lim.add(gdstk.Label('vbt', (21.92,37.4), layer=36, texttype=0))
rx_lim.add(gdstk.Label('glp', (34.62,36.04), layer=36, texttype=0))
rx_lim.add(gdstk.Label('mRpLa', (37.41,35.36), layer=36, texttype=0))
rx_lim.add(gdstk.Label('gln', (43.57,37.4), layer=36, texttype=0))
rx_lim.add(gdstk.Label('mRpLb', (50.78,38.76), layer=36, texttype=0))
rx_lim.add(gdstk.Label('gcp', (88.52,38.76), layer=36, texttype=0))
rx_lim.add(gdstk.Label('gcn', (93.85,37.4), layer=36, texttype=0))
rx_lim.add(gdstk.Label('mRpCa', (93.09,36.04), layer=36, texttype=0))
rx_lim.add(gdstk.Label('mRpCb', (106.46,38.08), layer=36, texttype=0))
rx_lim.add(gdstk.Label('nb', (111.78,38.76), layer=36, texttype=0))
rx_lim.add(gdstk.Label('enb', (112.46,36.72), layer=36, texttype=0))
rx_lim.add(gdstk.Label('vgr', (19.7,6.8), layer=42, texttype=0))
rx_lim.add(gdstk.Label('q', (86.81,6.8), layer=42, texttype=0))
rx_lim.add(gdstk.Label('lp', (9.61,36.04), layer=42, texttype=0))
rx_lim.add(gdstk.Label('nb', (108.12,26.58), layer=42, texttype=0))
rx_lim.add(gdstk.Label('enb', (109.48,26.58), layer=42, texttype=0))
rx_lim.add(gdstk.Label('inp', (6.12,-2.2), layer=42, texttype=10))
rx_lim.add(gdstk.Label('inn', (7.48,-2.2), layer=42, texttype=10))
rx_lim.add(gdstk.Label('nb', (108.12,-2.2), layer=42, texttype=10))
rx_lim.add(gdstk.Label('enb', (109.48,-2.2), layer=42, texttype=10))
rx_lim.add(gdstk.Label('nb', (115.59,38.76), layer=36, texttype=10))
rx_lim.add(gdstk.Label('enb', (115.59,36.72), layer=36, texttype=10))
rx_lim.add(gdstk.Label('VSS', (1,-1.2), layer=36, texttype=10))
rx_lim.add(gdstk.Label('VDD', (1,27.58), layer=36, texttype=10))
rx_lim.add(gdstk.Label('q', (0.15,0.7), layer=36, texttype=10))

lib.write_gds('rx_lim.gds')
